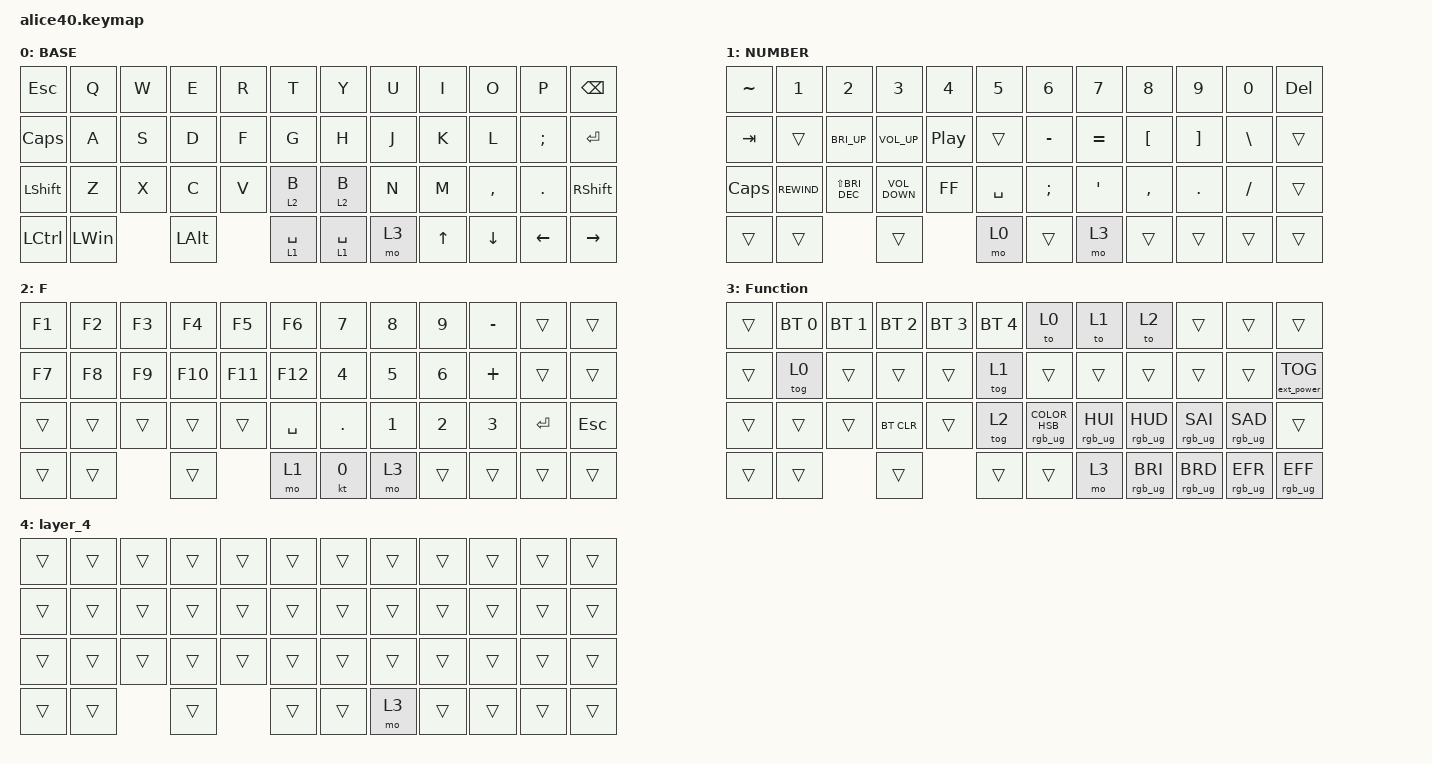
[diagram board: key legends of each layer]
#include <behaviors.dtsi>
#include <dt-bindings/zmk/bt.h>
#include <dt-bindings/zmk/ext_power.h>
#include <dt-bindings/zmk/keys.h>
#include <dt-bindings/zmk/keys.h>
#include <dt-bindings/zmk/rgb.h>

/ {
    keymap {
        compatible = "zmk,keymap";

        Base_layer {
            label = "BASE";
            bindings = <
&kp ESC       &kp Q         &kp W  &kp E     &kp R  &kp T        &kp Y        &kp U  &kp I   &kp O      &kp P          &kp BACKSPACE
&kp CAPSLOCK  &kp A         &kp S  &kp D     &kp F  &kp G        &kp H        &kp J  &kp K   &kp L      &kp SEMICOLON  &kp ENTER
&kp LSHIFT    &kp Z         &kp X  &kp C     &kp V  &lt 2 B      &lt 2 B      &kp N  &kp M   &kp COMMA  &kp DOT        &kp RSHIFT
&kp LCTRL     &kp LEFT_WIN         &kp LALT         &lt 1 SPACE  &lt 1 SPACE  &mo 3  &kp UP  &kp DOWN   &kp LEFT       &kp RIGHT
            >;
        };

        Number_layer {
            bindings = <
&kp TILDE  &kp NUMBER_1  &kp NUMBER_2       &kp NUMBER_3       &kp NUMBER_4      &kp NUMBER_5  &kp NUMBER_6   &kp NUMBER_7      &kp NUMBER_8      &kp NUMBER_9  &kp NUMBER_0   &kp DELETE
&kp TAB    &trans        &kp C_BRI_UP       &kp C_VOLUME_UP    &kp C_PLAY_PAUSE  &trans        &kp MINUS      &kp EQUAL         &kp LEFT_BRACKET  &kp RBKT      &kp BACKSLASH  &trans
&kp CAPS   &kp C_REWIND  &kp LS(C_BRI_DEC)  &kp C_VOLUME_DOWN  &kp C_FF          &kp SPACE     &kp SEMICOLON  &kp SINGLE_QUOTE  &kp COMMA         &kp PERIOD    &kp SLASH      &trans
&trans     &trans                           &trans                               &mo 0         &trans         &mo 3             &trans            &trans        &trans         &trans
            >;

            label = "NUMBER";
        };

        F_layer {
            bindings = <
&kp F1  &kp F2  &kp F3  &kp F4   &kp F5   &kp F6     &kp NUMBER_7  &kp NUMBER_8  &kp NUMBER_9  &kp MINUS     &trans     &trans
&kp F7  &kp F8  &kp F9  &kp F10  &kp F11  &kp F12    &kp NUMBER_4  &kp NUMBER_5  &kp NUMBER_6  &kp PLUS      &trans     &trans
&trans  &trans  &trans  &trans   &trans   &kp SPACE  &kp PERIOD    &kp NUMBER_1  &kp NUMBER_2  &kp NUMBER_3  &kp ENTER  &kp ESC
&trans  &trans          &trans            &mo 1      &kt NUMBER_0  &mo 3         &trans        &trans        &trans     &trans
            >;

            label = "F";
        };

        Function_layer {
            bindings = <
&trans  &bt BT_SEL 0  &bt BT_SEL 1  &bt BT_SEL 2  &bt BT_SEL 3  &bt BT_SEL 4  &to 0                            &to 1            &to 2            &trans           &trans           &trans
&trans  &tog 0        &trans        &trans        &trans        &tog 1        &trans                           &trans           &trans           &trans           &trans           &ext_power EP_TOG
&trans  &trans        &trans        &bt BT_CLR    &trans        &tog 2        &rgb_ug RGB_COLOR_HSB(43,0,100)  &rgb_ug RGB_HUI  &rgb_ug RGB_HUD  &rgb_ug RGB_SAI  &rgb_ug RGB_SAD  &trans
&trans  &trans                      &trans                      &trans        &trans                           &mo 3            &rgb_ug RGB_BRI  &rgb_ug RGB_BRD  &rgb_ug RGB_EFR  &rgb_ug RGB_EFF
            >;

            label = "Function";
        };

        layer_4 {
            bindings = <
&trans  &trans  &trans  &trans  &trans  &trans  &trans  &trans  &trans  &trans  &trans  &trans
&trans  &trans  &trans  &trans  &trans  &trans  &trans  &trans  &trans  &trans  &trans  &trans
&trans  &trans  &trans  &trans  &trans  &trans  &trans  &trans  &trans  &trans  &trans  &trans
&trans  &trans          &trans          &trans  &trans  &mo 3   &trans  &trans  &trans  &trans
            >;
        };
    };
};
